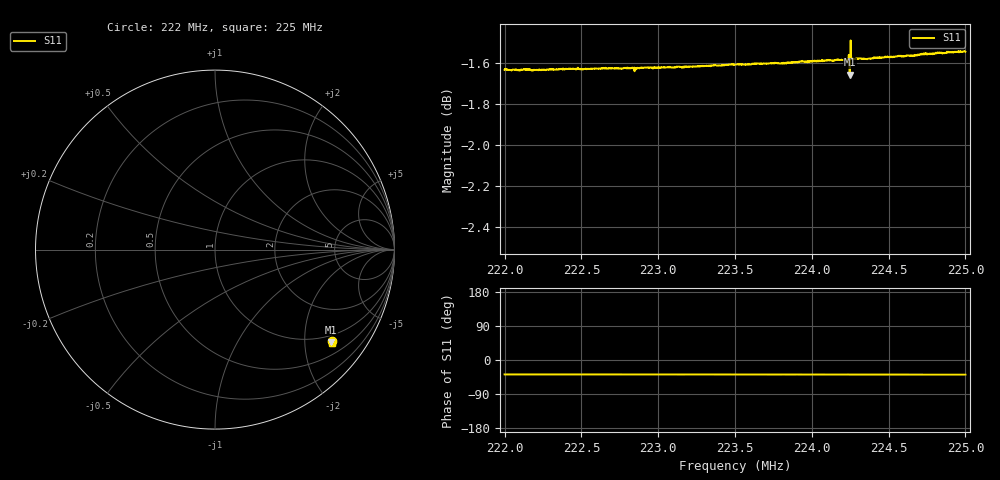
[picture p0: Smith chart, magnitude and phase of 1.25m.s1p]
! Calibrated averaged scanner-service zoom
# Hz S RI R 50
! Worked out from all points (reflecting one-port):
!   1001 points, 222 MHz to 225 MHz, reference 50 ohm
!   lowest |S11| = -1.7 dB at 224.25 MHz (marker M1), VSWR 10.50, Z = 40.8 - j132 ohm
!   phase of S11 starts at -38 deg and turns -1 deg over the sweep
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2.22e8  0.6525 -0.5105
2.22192e8  0.6522 -0.5106
2.22375e8  0.6524 -0.5112
2.2275e8  0.6523 -0.5118
2.22861e8  0.6523 -0.5121
2.22897e8  0.6522 -0.5124
2.23125e8  0.6524 -0.5127
2.23164e8  0.6521 -0.5131
2.23263e8  0.6527 -0.5132
2.235e8  0.6526 -0.5142
2.23875e8  0.6529 -0.5158
2.24064e8  0.6531 -0.5165
2.24214e8  0.6531 -0.5175
2.2422e8  0.6529 -0.5175
2.24229e8  0.6528 -0.5175
2.24232e8  0.6535 -0.5173
2.24235e8  0.6549 -0.5133
2.24238e8  0.653 -0.5175
2.24247e8  0.6468 -0.514
2.2425e8  0.653 -0.5177
2.24253e8  0.6631 -0.5192
2.24262e8  0.6532 -0.5179
2.24265e8  0.6531 -0.518
2.24268e8  0.6531 -0.518
2.24271e8  0.653 -0.5179
2.24364e8  0.6529 -0.5183
2.24625e8  0.6533 -0.5203
2.25e8  0.6533 -0.523
